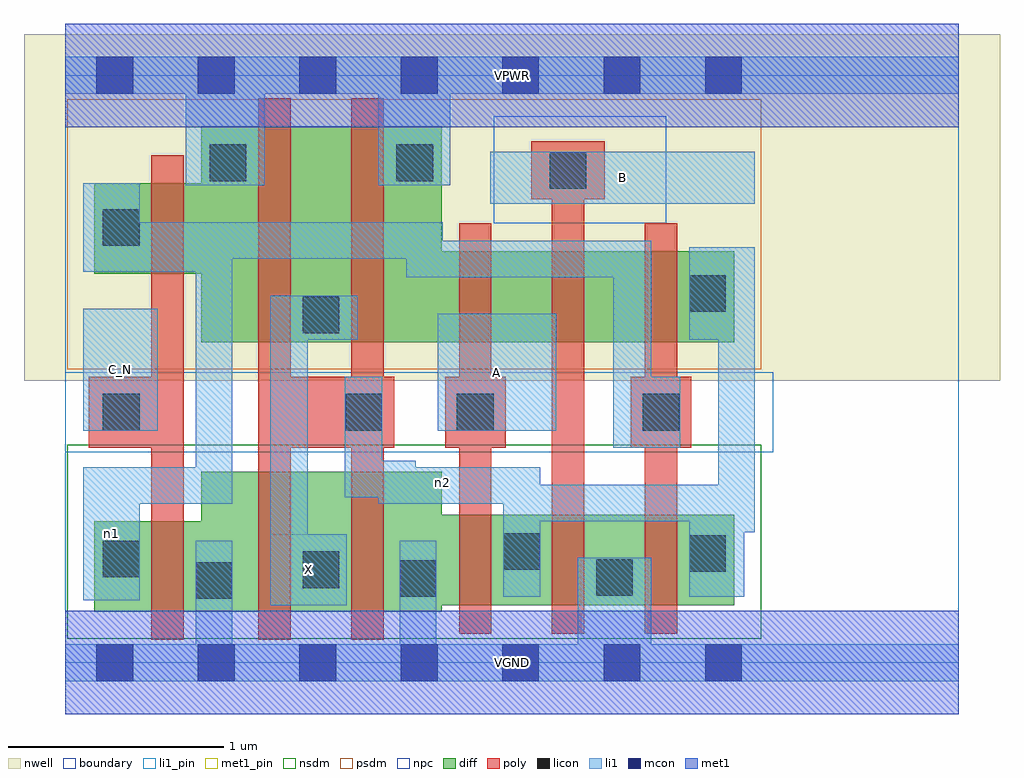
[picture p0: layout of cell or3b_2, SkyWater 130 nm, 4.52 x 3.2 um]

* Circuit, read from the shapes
.subckt or3b_2 A B C_N VGND VPWR X n1 n2
XM1 VGND C_N n1 VSUBS sky130_fd_pr__nfet_01v8 w=0.42 l=0.15
XM2 X n2 VGND VSUBS sky130_fd_pr__nfet_01v8 w=0.65 l=0.15 m=2
XM3 n2 A VGND VSUBS sky130_fd_pr__nfet_01v8 w=0.42 l=0.15
XM4 VGND B n2 VSUBS sky130_fd_pr__nfet_01v8 w=0.42 l=0.15
XM5 n2 n1 VGND VSUBS sky130_fd_pr__nfet_01v8 w=0.42 l=0.15
XM6 VPWR C_N n1 n3 sky130_fd_pr__pfet_01v8 w=0.42 l=0.15
XM7 X n2 VPWR n3 sky130_fd_pr__pfet_01v8 w=1 l=0.15 m=2
XM8 n4 A VPWR n3 sky130_fd_pr__pfet_01v8 w=0.42 l=0.15
XM9 n5 B n4 n3 sky130_fd_pr__pfet_01v8 w=0.42 l=0.15
XM10 n2 n1 n5 n3 sky130_fd_pr__pfet_01v8 w=0.42 l=0.15
.ends

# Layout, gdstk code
import gdstk
lib = gdstk.Library(unit=1e-6, precision=1e-09)
def R(c, l, rs):  # rectangles x0, y0, x1, y1
    for r in rs: c.add(gdstk.rectangle(r[:2], r[2:], *l))
def A(c, l, x, y, w, h, nx, ny, dx, dy):  # array of equal rectangles
    R(c, l, [(x+i*dx, y+j*dy, x+i*dx+w, y+j*dy+h) for i in range(nx) for j in range(ny)])
nwell = (64, 20)
diff = (65, 20)
poly = (66, 20)
licon = (66, 44)
li1_pin = (67, 16)
li1 = (67, 20)
mcon = (67, 44)
met1_pin = (68, 16)
met1 = (68, 20)
nsdm = (93, 44)
psdm = (94, 20)
npc = (95, 20)
boundary = (235, 4)

or3b_2 = lib.new_cell('or3b_2')
R(or3b_2, nwell, [(-0.19,1.305,4.33,2.91), (0,1.305,4.14,2.91)])
R(or3b_2, diff, [(0.135,0.235,1.745,0.655), (0.63,0.235,1.745,0.885), (0.135,0.265,3.1,0.655), (0.63,0.265,3.1,0.685), (0.63,1.485,3.1,1.905), (0.63,1.485,1.745,2.485), (0.135,1.8,1.745,2.22)])
R(or3b_2, poly, [(0.4,0.105,0.55,2.35), (0.895,0.105,1.045,2.615), (1.325,0.105,1.475,2.615), (1.825,0.135,1.975,2.035), (2.255,0.135,2.405,2.415), (2.685,0.135,2.835,2.035), (0.11,0.995,0.55,1.325), (0.895,0.995,1.525,1.325), (1.76,0.995,2.04,1.325), (2.62,0.995,2.9,1.325), (2.16,2.145,2.5,2.415)])
R(or3b_2, licon, [(0.605,0.295,0.775,0.465), (1.55,0.305,1.72,0.475), (2.46,0.31,2.63,0.48), (1.1,0.345,1.27,0.515), (0.175,0.395,0.345,0.565), (2.89,0.42,3.06,0.59), (2.03,0.43,2.2,0.6), (0.175,1.075,0.345,1.245), (1.3,1.075,1.47,1.245), (1.815,1.075,1.985,1.245), (2.675,1.075,2.845,1.245), (1.1,1.525,1.27,1.695), (2.89,1.625,3.06,1.795), (0.175,1.93,0.345,2.1), (2.245,2.195,2.415,2.365), (0.67,2.23,0.84,2.4), (1.535,2.23,1.705,2.4)])
R(or3b_2, li1_pin, [(0.95,0.265,1.305,0.595), (0.085,1.075,0.43,1.64), (1.725,1.075,2.275,1.615), (1.97,2.125,3.195,2.365)])
R(or3b_2, li1, [(0,-0.085,4.14,0.085), (0.605,-0.085,0.775,0.565), (1.55,-0.085,1.72,0.565), (2.375,-0.085,2.715,0.485), (0.95,0.265,1.125,1.7), (0.95,0.265,1.305,0.595), (0.085,0.29,0.345,0.905), (2.03,0.305,2.2,0.905), (2.89,0.305,3.145,0.825), (3.025,0.605,3.195,1.925), (2.03,0.655,3.195,0.825), (0.085,0.735,0.775,0.905), (0.605,0.735,0.775,2.04), (1.45,0.735,3.025,0.825), (1.295,0.765,2.2,0.905), (1.295,0.765,1.47,1.325), (1.295,0.765,1.625,0.935), (2.54,0.995,2.715,1.955), (2.54,0.995,2.85,1.325), (0.085,1.075,0.43,1.64), (1.725,1.075,2.275,1.615), (0.95,1.495,1.355,1.7), (2.89,1.495,3.195,1.925), (1.58,1.785,2.715,1.955), (0.085,1.81,0.345,2.22), (0.085,1.81,0.775,2.04), (0.085,1.87,1.75,2.04), (1.97,2.125,3.195,2.365), (0.56,2.21,0.925,2.805), (1.45,2.21,1.785,2.805), (0,2.635,4.14,2.805)])
A(or3b_2, mcon, 0.145, -0.085, 0.17, 0.17, 7, 2, 0.47, 2.72)
R(or3b_2, met1_pin, [(0,-0.24,4.14,0.24), (0,2.48,4.14,2.96)])
R(or3b_2, met1, [(0,-0.24,4.14,0.24), (0,2.48,4.14,2.96)])
R(or3b_2, nsdm, [(0.01,0.11,3.225,1.01)])
R(or3b_2, psdm, [(0.01,1.36,3.225,2.61)])
R(or3b_2, npc, [(0,0.975,3.28,1.345), (1.985,2.035,2.785,2.53)])
R(or3b_2, boundary, [(0,0,4.14,2.72)])
or3b_2.add(gdstk.Label('A', (2,1.345), layer=67, texttype=5))
or3b_2.add(gdstk.Label('B', (2.582,2.245), layer=67, texttype=5))
or3b_2.add(gdstk.Label('C_N', (0.257,1.357), layer=67, texttype=5))
or3b_2.add(gdstk.Label('X', (1.127,0.43), layer=67, texttype=5))
or3b_2.add(gdstk.Label('n2', (1.747,0.835), layer=67, texttype=5))
or3b_2.add(gdstk.Label('n1', (0.215,0.597), layer=67, texttype=5))
or3b_2.add(gdstk.Label('VPWR', (2.07,2.72), layer=68, texttype=5))
or3b_2.add(gdstk.Label('VGND', (2.07,0), layer=68, texttype=5))
or3b_2.add(gdstk.Label('A', (2,1.345), layer=67, texttype=16))
or3b_2.add(gdstk.Label('B', (2.582,2.245), layer=67, texttype=16))
or3b_2.add(gdstk.Label('C_N', (0.257,1.357), layer=67, texttype=16))
or3b_2.add(gdstk.Label('X', (1.127,0.43), layer=67, texttype=16))
or3b_2.add(gdstk.Label('VPWR', (2.07,2.72), layer=68, texttype=16))
or3b_2.add(gdstk.Label('VGND', (2.07,0), layer=68, texttype=16))

lib.write_gds('or3b_2.gds')
